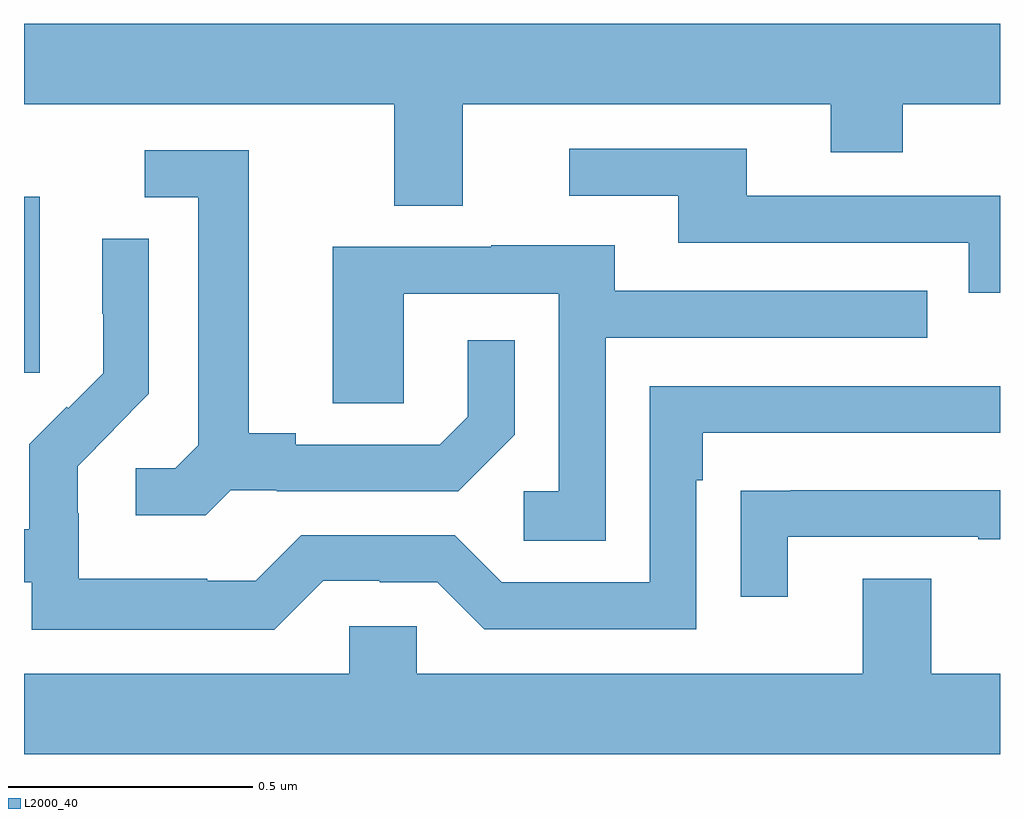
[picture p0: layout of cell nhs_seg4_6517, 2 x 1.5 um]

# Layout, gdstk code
import gdstk
lib = gdstk.Library(unit=1e-6, precision=1e-09)
def R(c, l, rs):  # rectangles x0, y0, x1, y1
    for r in rs: c.add(gdstk.rectangle(r[:2], r[2:], *l))
def P(c, l, *ps):  # polygons
    for p in ps: c.add(gdstk.Polygon(p, *l))
L2000_40 = (2000, 40)

nhs_seg4_6517 = lib.new_cell('nhs_seg4_6517')
R(nhs_seg4_6517, L2000_40, [(191,794.937,191.032,795.298)])
P(nhs_seg4_6517, L2000_40, [(191.899,795.488),(192.653,795.488),(192.653,795.389),(192.801,795.389),(192.801,795.488),(193,795.488),(193,795.652),(191,795.652),(191,795.488),(191.759,795.488),(191.759,795.28),(191.899,795.28)],
  [(193,795.3),(192.481,795.3),(192.481,795.396),(192.117,795.396),(192.117,795.3),(192.341,795.3),(192.341,795.204),(192.936,795.204),(192.936,795.101),(193,795.101)],
  [(191.424,794.697),(191.518,794.697),(191.518,794.694),(191.89,794.694),(192.006,794.81),(192.006,795.004),(191.909,795.004),(191.909,794.847),(191.852,794.79),(191.557,794.79),(191.557,794.813),(191.461,794.813),(191.461,795.393),(191.247,795.393),(191.247,795.297),(191.357,795.297),(191.357,794.789),(191.31,794.742),(191.229,794.742),(191.229,794.645),(191.372,794.645)],
  [(191.613,794.511),(191.729,794.511),(191.729,794.508),(191.847,794.508),(191.943,794.412),(192.378,794.412),(192.378,794.717),(192.391,794.717),(192.391,794.814),(193,794.814),(193,794.91),(192.282,794.91),(192.282,794.508),(191.979,794.508),(191.883,794.604),(191.568,794.604),(191.475,794.511),(191.375,794.511),(191.375,794.515),(191.112,794.515),(191.112,794.649),(191.11,794.649),(191.11,794.746),(191.184,794.82),(191.183,794.821),(191.256,794.894),(191.256,795.212),(191.16,795.212),(191.16,795.058),(191.162,795.058),(191.162,794.936),(191.091,794.865),(191.088,794.868),(191.011,794.791),(191.011,794.617),(191,794.617),(191,794.508),(191.016,794.508),(191.016,794.411),(191.513,794.411)],
  [(192.192,795.009),(192.851,795.009),(192.851,795.105),(192.211,795.105),(192.211,795.199),(191.957,795.199),(191.957,795.195),(191.633,795.195),(191.633,794.875),(191.778,794.875),(191.778,795.099),(192.096,795.099),(192.096,794.694),(192.024,794.694),(192.024,794.593),(192.192,794.593)],
  [(192.565,794.601),(192.955,794.601),(192.955,794.596),(193,794.596),(193,794.697),(192.571,794.697),(192.571,794.696),(192.469,794.696),(192.469,794.478),(192.565,794.478)],
  [(193,794.32),(192.859,794.32),(192.859,794.515),(192.719,794.515),(192.719,794.32),(191.805,794.32),(191.805,794.418),(191.667,794.418),(191.667,794.32),(191,794.32),(191,794.156),(193,794.156)])

lib.write_gds('nhs_seg4_6517.gds')
